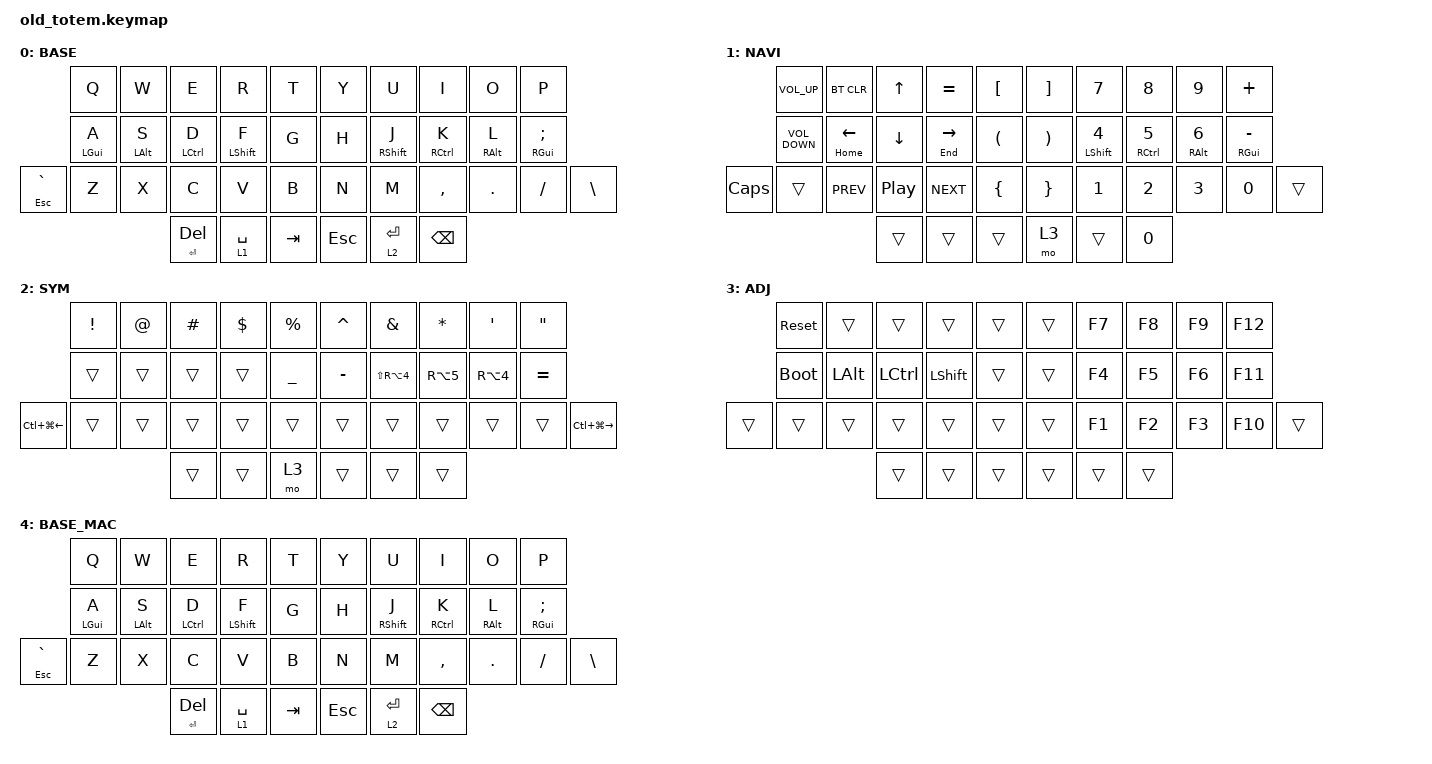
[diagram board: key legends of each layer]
//
//                                                        ▀▀▀▀▀     ▀▀▀▀▀          ▀▀█▀▀
//                                                        ▄▀▀▀▄  ▄  ▄▀▀▀▄  ▄  ▄▀▀▀▄  █  ▄▀▀▀▄
//                                                        █   █  █  █   █  █  █   █  █  █   █
//                                                         ▀▀▀   █   ▀▀▀   █   ▀▀▀   ▀   ▀▀▀
//                                                               █      ▄▄▄█▄▄▄    █   █  
//                                                               ▀      █  █  █     █▄█
//                                                             ▀▀▀▀▀    █  █  █      ▀
//                                                                      ▀  ▀  ▀
//
// ▄▄▄▄▄▄▄▄▄▄▄▄▄▄▄▄▄▄▄▄▄▄▄▄▄▄▄▄▄▄▄▄▄▄▄▄▄▄▄▄▄▄▄▄▄▄▄▄▄▄▄▄▄▄▄▄▄▄▄▄▄▄▄▄▄▄▄▄▄▄▄▄▄▄▄▄▄▄▄▄▄▄▄▄▄▄▄▄▄▄▄▄▄▄▄▄▄▄▄▄▄▄▄▄▄▄▄▄▄▄▄▄▄▄▄▄▄▄▄▄▄▄▄▄▄▄▄▄▄▄▄▄▄▄▄▄▄▄▄▄▄▄▄▄▄▄▄▄▄

#include <behaviors.dtsi>
#include <dt-bindings/zmk/bt.h>
#include <dt-bindings/zmk/keys.h>

#define BASE 0
#define NAV  1
#define SYM  2
#define ADJ  3
#define BASE_MAC 4

&mt {
    quick-tap-ms = <100>;
    global-quick-tap;
    flavor = "tap-preferred";
    tapping-term-ms = <170>;
};

/ {
    combos {
        compatible = "zmk,combos";

        combo_esc {
            timeout-ms = <50>;
            key-positions = <0 1>;
            bindings = <&kp ESC>;
        };
    };

    keymap {
        compatible = "zmk,keymap";

        // ▄▄▄▄▄▄▄▄▄▄▄▄▄▄▄▄▄▄▄▄▄▄▄▄▄▄▄▄▄▄▄▄▄▄▄▄▄▄▄▄▄▄▄▄▄▄▄▄▄▄▄▄▄▄▄▄▄▄▄▄▄▄▄▄▄▄▄▄▄▄▄▄▄▄▄▄▄▄▄▄▄▄▄▄▄▄▄▄▄▄▄▄▄▄▄▄▄▄▄▄▄▄▄▄▄▄▄▄▄▄▄▄▄▄▄▄▄▄▄▄▄▄▄▄▄▄▄▄▄▄▄▄▄▄▄▄▄▄▄▄▄▄▄▄▄▄▄▄▄

        base_layer {
            // ┏━━━━━━━━━━━━━━━━━━━━━━━━━━━━━━━━━━━━━━━┓

            label = "BASE";

            // ┗━━━━━━━━━━━━━━━━━━━━━━━━━━━━━━━━━━━━━━━┛
            //             ┏━━━━━━━━━━━┳━━━━━━━━━━━┳━━━━━━━━━━━┳━━━━━━━━━━━┳━━━━━━━━━━━┓   ┏━━━━━━━━━━━┳━━━━━━━━━━━┳━━━━━━━━━━━┳━━━━━━━━━━━┳━━━━━━━━━━━┓
            //             ┃     Q     ┃     W     ┃     E     ┃     R     ┃     T     ┃   ┃     Y     ┃     U     ┃     I     ┃     O     ┃     P     ┃
            //             ┣━━━━━━━━━━━╋━━━━━━━━━━━╋━━━━━━━━━━━╋━━━━━━━━━━━╋━━━━━━━━━━━┫   ┣━━━━━━━━━━━╋━━━━━━━━━━━╋━━━━━━━━━━━╋━━━━━━━━━━━╋━━━━━━━━━━━┫
            //             ┃     A     ┃     S     ┃     D     ┃     F     ┃     G     ┃   ┃     H     ┃     J     ┃     K     ┃     L     ┃     ;     ┃
            // ┏━━━━━━━━━━━╋━━━━━━━━━━━╋━━━━━━━━━━━╋━━━━━━━━━━━╋━━━━━━━━━━━╋━━━━━━━━━━━┫   ┣━━━━━━━━━━━╋━━━━━━━━━━━╋━━━━━━━━━━━╋━━━━━━━━━━━╋━━━━━━━━━━━╋━━━━━━━━━━━┓
            // ┃     Q     ┃     Z     ┃     X     ┃     C     ┃     V     ┃     B     ┃   ┃     N     ┃     M     ┃     ,     ┃     .     ┃     /     ┃     \     ┃
            // ┗━━━━━━━━━━━┻━━━━━━━━━━━┻━━━━━━━━━━━╋━━━━━━━━━━━╋━━━━━━━━━━━╋━━━━━━━━━━━┫   ┣━━━━━━━━━━━╋━━━━━━━━━━━╋━━━━━━━━━━━╋━━━━━━━━━━━┻━━━━━━━━━━━┻━━━━━━━━━━━┛
            //                                     ┃    DEL    ┃    TAB    ┃    SPC    ┃   ┃   ENTER   ┃           ┃   BSPC    ┃
            //                                     ┗━━━━━━━━━━━┻━━━━━━━━━━━┻━━━━━━━━━━━┛   ┗━━━━━━━━━━━┻━━━━━━━━━━━┻━━━━━━━━━━━┛

            bindings = <
               &kp Q       &kp W       &kp E             &kp R        &kp T      &kp Y    &kp U        &kp I        &kp O       &kp P
               &mt LGUI A  &mt LALT S  &mt LCTRL D       &mt LSHFT F  &kp G      &kp H    &mt RSHFT J  &mt RCTRL K  &mt RALT L  &mt RGUI SEMI
&mt ESC GRAVE  &kp Z       &kp X       &kp C             &kp V        &kp B      &kp N    &kp M        &kp COMMA    &kp DOT     &kp FSLH       &kp BSLH
                                       &mt ENTER DELETE  &lt 1 SPACE  &kp TAB    &kp ESC  &lt 2 ENTER  &kp BSPC
            >;
        };

        // ▄▄▄▄▄▄▄▄▄▄▄▄▄▄▄▄▄▄▄▄▄▄▄▄▄▄▄▄▄▄▄▄▄▄▄▄▄▄▄▄▄▄▄▄▄▄▄▄▄▄▄▄▄▄▄▄▄▄▄▄▄▄▄▄▄▄▄▄▄▄▄▄▄▄▄▄▄▄▄▄▄▄▄▄▄▄▄▄▄▄▄▄▄▄▄▄▄▄▄▄▄▄▄▄▄▄▄▄▄▄▄▄▄▄▄▄▄▄▄▄▄▄▄▄▄▄▄▄▄▄▄▄▄▄▄▄▄▄▄▄▄▄▄▄▄▄▄▄▄

        nav_layer {
            // ┏━━━━━━━━━━━━━━━━━━━━━━━━━━━━━━━━━━━━━━━┓

            label = "NAVI";

            // ┗━━━━━━━━━━━━━━━━━━━━━━━━━━━━━━━━━━━━━━━┛
            //             ┏━━━━━━━━━━━┳━━━━━━━━━━━┳━━━━━━━━━━━┳━━━━━━━━━━━┳━━━━━━━━━━━┓   ┏━━━━━━━━━━━┳━━━━━━━━━━━┳━━━━━━━━━━━┳━━━━━━━━━━━┳━━━━━━━━━━━┓
            //             ┃           ┃           ┃     UP    ┃           ┃     {     ┃   ┃     }     ┃     7     ┃     8     ┃     9     ┃     +     ┃
            //             ┣━━━━━━━━━━━╋━━━━━━━━━━━╋━━━━━━━━━━━╋━━━━━━━━━━━╋━━━━━━━━━━━┫   ┣━━━━━━━━━━━╋━━━━━━━━━━━╋━━━━━━━━━━━╋━━━━━━━━━━━╋━━━━━━━━━━━┫
            //             ┃   SHIFT   ┃   LEFT    ┃    DOWN   ┃   RIGHT   ┃     [     ┃   ┃     ]     ┃     4     ┃     5     ┃     6     ┃     -     ┃
            // ┏━━━━━━━━━━━╋━━━━━━━━━━━╋━━━━━━━━━━━╋━━━━━━━━━━━╋━━━━━━━━━━━╋━━━━━━━━━━━┫   ┣━━━━━━━━━━━╋━━━━━━━━━━━╋━━━━━━━━━━━╋━━━━━━━━━━━╋━━━━━━━━━━━╋━━━━━━━━━━━┓
            // ┃           ┃           ┃   P UP    ┃  C LOCK   ┃  P DOWN   ┃     (     ┃   ┃     )     ┃     1     ┃     2     ┃     3     ┃     *     ┃           ┃
            // ┗━━━━━━━━━━━┻━━━━━━━━━━━┻━━━━━━━━━━━╋━━━━━━━━━━━╋━━━━━━━━━━━╋━━━━━━━━━━━┫   ┣━━━━━━━━━━━╋━━━━━━━━━━━╋━━━━━━━━━━━╋━━━━━━━━━━━┻━━━━━━━━━━━┻━━━━━━━━━━━┛
            //                                     ┃           ┃    TAB    ┃    SPC    ┃   ┃    DEL    ┃     0     ┃           ┃
            //                                     ┗━━━━━━━━━━━┻━━━━━━━━━━━┻━━━━━━━━━━━┛   ┗━━━━━━━━━━━┻━━━━━━━━━━━┻━━━━━━━━━━━┛

            bindings = <
          &kp C_VOLUME_UP    &bt BT_CLR           &kp UP_ARROW      &kp EQUAL            &kp LEFT_BRACKET        &kp RIGHT_BRACKET      &kp NUMBER_7             &kp NUMBER_8  &kp NUMBER_9            &kp PLUS
          &kp C_VOLUME_DOWN  &mt HOME LEFT_ARROW  &kp DOWN          &mt END RIGHT_ARROW  &kp LEFT_PARENTHESIS    &kp RIGHT_PARENTHESIS  &mt LEFT_SHIFT NUMBER_4  &mt RCTRL N5  &mt RIGHT_ALT NUMBER_6  &mt RGUI MINUS
&kp CAPS  &trans             &kp C_PREV           &kp C_PLAY_PAUSE  &kp C_NEXT           &kp LEFT_BRACE          &kp RIGHT_BRACE        &kp NUMBER_1             &kp NUMBER_2  &kp NUMBER_3            &kp NUMBER_0    &trans
                                                  &trans            &trans               &trans                  &mo 3                  &trans                   &kp N0
            >;
        };

        // ▄▄▄▄▄▄▄▄▄▄▄▄▄▄▄▄▄▄▄▄▄▄▄▄▄▄▄▄▄▄▄▄▄▄▄▄▄▄▄▄▄▄▄▄▄▄▄▄▄▄▄▄▄▄▄▄▄▄▄▄▄▄▄▄▄▄▄▄▄▄▄▄▄▄▄▄▄▄▄▄▄▄▄▄▄▄▄▄▄▄▄▄▄▄▄▄▄▄▄▄▄▄▄▄▄▄▄▄▄▄▄▄▄▄▄▄▄▄▄▄▄▄▄▄▄▄▄▄▄▄▄▄▄▄▄▄▄▄▄▄▄▄▄▄▄▄▄▄▄

        sim_layer {
            // ┏━━━━━━━━━━━━━━━━━━━━━━━━━━━━━━━━━━━━━━━┓

            label = "SYM";

            // ┗━━━━━━━━━━━━━━━━━━━━━━━━━━━━━━━━━━━━━━━┛
            //             ┏━━━━━━━━━━━┳━━━━━━━━━━━┳━━━━━━━━━━━┳━━━━━━━━━━━┳━━━━━━━━━━━┓   ┏━━━━━━━━━━━┳━━━━━━━━━━━┳━━━━━━━━━━━┳━━━━━━━━━━━┳━━━━━━━━━━━┓
            //             ┃     !     ┃     @     ┃     #     ┃     $     ┃     %     ┃   ┃     ˆ     ┃     &     ┃     Ü     ┃     '     ┃     "     ┃
            //             ┣━━━━━━━━━━━╋━━━━━━━━━━━╋━━━━━━━━━━━╋━━━━━━━━━━━╋━━━━━━━━━━━┫   ┣━━━━━━━━━━━╋━━━━━━━━━━━╋━━━━━━━━━━━╋━━━━━━━━━━━╋━━━━━━━━━━━┫
            //             ┃     Ä     ┃           ┃    SZ     ┃           ┃           ┃   ┃   MUTE    ┃   YEN     ┃   EURO    ┃  POUND    ┃     Ö     ┃
            // ┏━━━━━━━━━━━╋━━━━━━━━━━━╋━━━━━━━━━━━╋━━━━━━━━━━━╋━━━━━━━━━━━╋━━━━━━━━━━━┫   ┣━━━━━━━━━━━╋━━━━━━━━━━━╋━━━━━━━━━━━╋━━━━━━━━━━━╋━━━━━━━━━━━╋━━━━━━━━━━━┓
            // ┃           ┃  EMAIL1   ┃  EMAIL2   ┃           ┃           ┃           ┃   ┃   VOL-    ┃   VOL+    ┃   LAST    ┃   NEXT    ┃     \     ┃           ┃
            // ┗━━━━━━━━━━━┻━━━━━━━━━━━┻━━━━━━━━━━━╋━━━━━━━━━━━╋━━━━━━━━━━━╋━━━━━━━━━━━┫   ┣━━━━━━━━━━━╋━━━━━━━━━━━╋━━━━━━━━━━━╋━━━━━━━━━━━┻━━━━━━━━━━━┻━━━━━━━━━━━┛
            //                                     ┃           ┃    GIF    ┃    ADJ    ┃   ┃           ┃           ┃           ┃
            //                                     ┗━━━━━━━━━━━┻━━━━━━━━━━━┻━━━━━━━━━━━┛   ┗━━━━━━━━━━━┻━━━━━━━━━━━┻━━━━━━━━━━━┛

            bindings = <
                        &kp EXCL  &kp AT  &kp HASH  &kp DLLR  &kp PRCNT         &kp CARET  &kp AMPS        &kp ASTERISK  &kp SQT     &kp DQT
                        &trans    &trans  &trans    &trans    &kp UNDERSCORE    &kp MINUS  &kp LS(RA(N4))  &kp RA(N5)    &kp RA(N4)  &kp EQUAL
&kp LC(LG(LEFT_ARROW))  &trans    &trans  &trans    &trans    &trans            &trans     &trans          &trans        &trans      &trans     &kp LC(LG(RIGHT))
                                          &trans    &trans    &mo 3             &trans     &trans          &trans
            >;
        };

        // ▄▄▄▄▄▄▄▄▄▄▄▄▄▄▄▄▄▄▄▄▄▄▄▄▄▄▄▄▄▄▄▄▄▄▄▄▄▄▄▄▄▄▄▄▄▄▄▄▄▄▄▄▄▄▄▄▄▄▄▄▄▄▄▄▄▄▄▄▄▄▄▄▄▄▄▄▄▄▄▄▄▄▄▄▄▄▄▄▄▄▄▄▄▄▄▄▄▄▄▄▄▄▄▄▄▄▄▄▄▄▄▄▄▄▄▄▄▄▄▄▄▄▄▄▄▄▄▄▄▄▄▄▄▄▄▄▄▄▄▄▄▄▄▄▄▄▄▄▄

        adjust_layer {
            // ┏━━━━━━━━━━━━━━━━━━━━━━━━━━━━━━━━━━━━━━━┓

            label = "ADJ";

            // ┗━━━━━━━━━━━━━━━━━━━━━━━━━━━━━━━━━━━━━━━┛
            //             ┏━━━━━━━━━━━┳━━━━━━━━━━━┳━━━━━━━━━━━┳━━━━━━━━━━━┳━━━━━━━━━━━┓   ┏━━━━━━━━━━━┳━━━━━━━━━━━┳━━━━━━━━━━━┳━━━━━━━━━━━┳━━━━━━━━━━━┓
            //             ┃   RESET   ┃ BT CLEAR  ┃  OUT TOG  ┃           ┃           ┃   ┃           ┃    F7     ┃    F8     ┃    F9     ┃    F12    ┃
            //             ┣━━━━━━━━━━━╋━━━━━━━━━━━╋━━━━━━━━━━━╋━━━━━━━━━━━╋━━━━━━━━━━━┫   ┣━━━━━━━━━━━╋━━━━━━━━━━━╋━━━━━━━━━━━╋━━━━━━━━━━━╋━━━━━━━━━━━┫
            //             ┃ BOOTLOAD  ┃ BT NEXT   ┃           ┃           ┃           ┃   ┃           ┃    F4     ┃    F5     ┃    F6     ┃    F11    ┃
            // ┏━━━━━━━━━━━╋━━━━━━━━━━━╋━━━━━━━━━━━╋━━━━━━━━━━━╋━━━━━━━━━━━╋━━━━━━━━━━━┫   ┣━━━━━━━━━━━╋━━━━━━━━━━━╋━━━━━━━━━━━╋━━━━━━━━━━━╋━━━━━━━━━━━╋━━━━━━━━━━━┓
            // ┃           ┃           ┃ BT PREV   ┃           ┃           ┃           ┃   ┃           ┃    F1     ┃    F2     ┃    F3     ┃    F10    ┃           ┃
            // ┗━━━━━━━━━━━┻━━━━━━━━━━━┻━━━━━━━━━━━╋━━━━━━━━━━━╋━━━━━━━━━━━╋━━━━━━━━━━━┫   ┣━━━━━━━━━━━╋━━━━━━━━━━━╋━━━━━━━━━━━╋━━━━━━━━━━━┻━━━━━━━━━━━┻━━━━━━━━━━━┛
            //                                     ┃           ┃           ┃           ┃   ┃           ┃           ┃           ┃
            //                                     ┗━━━━━━━━━━━┻━━━━━━━━━━━┻━━━━━━━━━━━┛   ┗━━━━━━━━━━━┻━━━━━━━━━━━┻━━━━━━━━━━━┛

            bindings = <
        &sys_reset   &trans        &trans     &trans          &trans    &trans  &kp F7  &kp F8  &kp F9  &kp F12
        &bootloader  &kp LEFT_ALT  &kp LCTRL  &kp LEFT_SHIFT  &trans    &trans  &kp F4  &kp F5  &kp F6  &kp F11
&trans  &trans       &trans        &trans     &trans          &trans    &trans  &kp F1  &kp F2  &kp F3  &kp F10  &trans
                                   &trans     &trans          &trans    &trans  &trans  &trans
            >;
        };

        // ▄▄▄▄▄▄▄▄▄▄▄▄▄▄▄▄▄▄▄▄▄▄▄▄▄▄▄▄▄▄▄▄▄▄▄▄▄▄▄▄▄▄▄▄▄▄▄▄▄▄▄▄▄▄▄▄▄▄▄▄▄▄▄▄▄▄▄▄▄▄▄▄▄▄▄▄▄▄▄▄▄▄▄▄▄▄▄▄▄▄▄▄▄▄▄▄▄▄▄▄▄▄▄▄▄▄▄▄▄▄▄▄▄▄▄▄▄▄▄▄▄▄▄▄▄▄▄▄▄▄▄▄▄▄▄▄▄▄▄▄▄▄▄▄▄▄▄▄▄

        base_mac_layer {
            // ┏━━━━━━━━━━━━━━━━━━━━━━━━━━━━━━━━━━━━━━━┓

            label = "BASE_MAC";

            // ┗━━━━━━━━━━━━━━━━━━━━━━━━━━━━━━━━━━━━━━━┛
            //             ┏━━━━━━━━━━━┳━━━━━━━━━━━┳━━━━━━━━━━━┳━━━━━━━━━━━┳━━━━━━━━━━━┓   ┏━━━━━━━━━━━┳━━━━━━━━━━━┳━━━━━━━━━━━┳━━━━━━━━━━━┳━━━━━━━━━━━┓
            //             ┃     Q     ┃     W     ┃     E     ┃     R     ┃     T     ┃   ┃     Y     ┃     U     ┃     I     ┃     O     ┃     P     ┃
            //             ┣━━━━━━━━━━━╋━━━━━━━━━━━╋━━━━━━━━━━━╋━━━━━━━━━━━╋━━━━━━━━━━━┫   ┣━━━━━━━━━━━╋━━━━━━━━━━━╋━━━━━━━━━━━╋━━━━━━━━━━━╋━━━━━━━━━━━┫
            //             ┃     A     ┃     S     ┃     D     ┃     F     ┃     G     ┃   ┃     H     ┃     J     ┃     K     ┃     L     ┃     ;     ┃
            // ┏━━━━━━━━━━━╋━━━━━━━━━━━╋━━━━━━━━━━━╋━━━━━━━━━━━╋━━━━━━━━━━━╋━━━━━━━━━━━┫   ┣━━━━━━━━━━━╋━━━━━━━━━━━╋━━━━━━━━━━━╋━━━━━━━━━━━╋━━━━━━━━━━━╋━━━━━━━━━━━┓
            // ┃     Q     ┃     Z     ┃     X     ┃     C     ┃     V     ┃     B     ┃   ┃     N     ┃     M     ┃     ,     ┃     .     ┃     /     ┃     \     ┃
            // ┗━━━━━━━━━━━┻━━━━━━━━━━━┻━━━━━━━━━━━╋━━━━━━━━━━━╋━━━━━━━━━━━╋━━━━━━━━━━━┫   ┣━━━━━━━━━━━╋━━━━━━━━━━━╋━━━━━━━━━━━╋━━━━━━━━━━━┻━━━━━━━━━━━┻━━━━━━━━━━━┛
            //                                     ┃    DEL    ┃    TAB    ┃    SPC    ┃   ┃   ENTER   ┃           ┃   BSPC    ┃
            //                                     ┗━━━━━━━━━━━┻━━━━━━━━━━━┻━━━━━━━━━━━┛   ┗━━━━━━━━━━━┻━━━━━━━━━━━┻━━━━━━━━━━━┛

            bindings = <
               &kp Q       &kp W       &kp E             &kp R        &kp T      &kp Y    &kp U        &kp I        &kp O       &kp P
               &mt LGUI A  &mt LALT S  &mt LCTRL D       &mt LSHFT F  &kp G      &kp H    &mt RSHFT J  &mt RCTRL K  &mt RALT L  &mt RGUI SEMI
&mt ESC GRAVE  &kp Z       &kp X       &kp C             &kp V        &kp B      &kp N    &kp M        &kp COMMA    &kp DOT     &kp FSLH       &kp BSLH
                                       &mt ENTER DELETE  &lt 1 SPACE  &kp TAB    &kp ESC  &lt 2 ENTER  &kp BSPC
            >;
        };

        // ▄▄▄▄▄▄▄▄▄▄▄▄▄▄▄▄▄▄▄▄▄▄▄▄▄▄▄▄▄▄▄▄▄▄▄▄▄▄▄▄▄▄▄▄▄▄▄▄▄▄▄▄▄▄▄▄▄▄▄▄▄▄▄▄▄▄▄▄▄▄▄▄▄▄▄▄▄▄▄▄▄▄▄▄▄▄▄▄▄▄▄▄▄▄▄▄▄▄▄▄▄▄▄▄▄▄▄▄▄▄▄▄▄▄▄▄▄▄▄▄▄▄▄▄▄▄▄▄▄▄▄▄▄▄▄▄▄▄▄▄▄▄▄▄▄▄▄▄▄


    };
};
